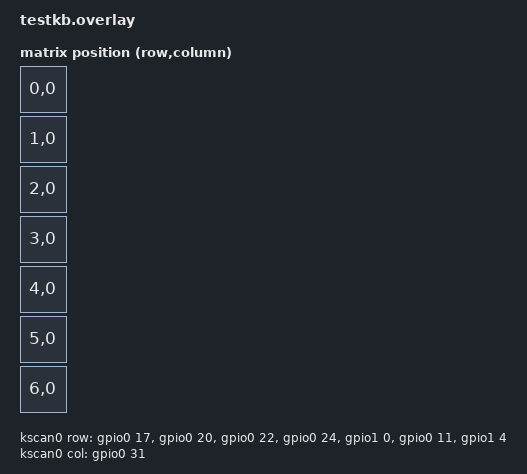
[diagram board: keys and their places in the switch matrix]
#include <dt-bindings/zmk/matrix_transform.h>

/ {
    kscan0: kscan {
        compatible = "zmk,kscan-gpio-matrix";
        diode-direction = "row2col";
        wakeup-source;

        // Column pin: P0.31 (input)
        col-gpios = <&gpio0 31 (GPIO_ACTIVE_HIGH | GPIO_PULL_DOWN)>;

        // Row pins (outputs)
        row-gpios =
            <&gpio0 17 GPIO_ACTIVE_HIGH>,
            <&gpio0 20 GPIO_ACTIVE_HIGH>,
            <&gpio0 22 GPIO_ACTIVE_HIGH>,
            <&gpio0 24 GPIO_ACTIVE_HIGH>,
            <&gpio1 0 GPIO_ACTIVE_HIGH>,
            <&gpio0 11 GPIO_ACTIVE_HIGH>,
            <&gpio1 4 GPIO_ACTIVE_HIGH>;
    };

    default_transform: keymap_transform0 {
        compatible = "zmk,matrix-transform";
        columns = <1>; // 1 column
        rows = <7>;    // 7 rows
        map = <
            RC(0,0)
            RC(1,0)
            RC(2,0)
            RC(3,0)
            RC(4,0)
            RC(5,0)
            RC(6,0)
        >;
    };

    physical_layout0: physical_layout_0 {
        compatible = "zmk,physical-layout";
        display-name = "Default Layout";
        kscan = <&kscan0>;                // reference to your kscan
        transform = <&default_transform>; // reference to your matrix transform
    };

    chosen {
        zmk,physical-layout = &physical_layout0;
    };
};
